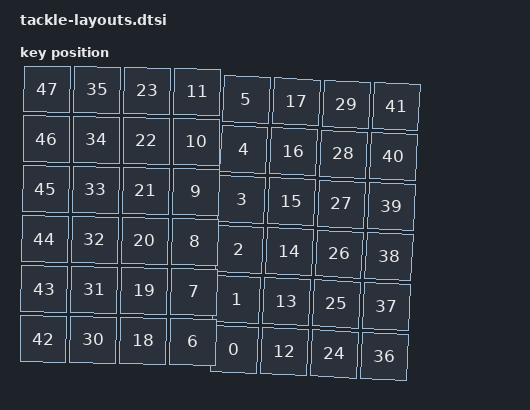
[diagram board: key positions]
#include <physical_layouts.dtsi>

/ {
    tackle_layout: tackle_layout {
        compatible = "zmk,physical-layout";
        display-name = "Tackle";
        transform = <&default_transform>;
        kscan = <&kscan0>;
        keys  //                     w   h    x    y     rot    rx    ry
            = <&key_physical_attrs 100 100  400  500     270     0     0>
            , <&key_physical_attrs 100 100  400  400     270     0     0>
            , <&key_physical_attrs 100 100  400  300     270     0     0>
            , <&key_physical_attrs 100 100  400  200     270     0     0>
            , <&key_physical_attrs 100 100  400  100     270     0     0>
            , <&key_physical_attrs 100 100  400    0     270     0     0>
            , <&key_physical_attrs 100 100  300  500      90     0     0>
            , <&key_physical_attrs 100 100  300  400      90     0     0>
            , <&key_physical_attrs 100 100  300  300      90     0     0>
            , <&key_physical_attrs 100 100  300  200      90     0     0>
            , <&key_physical_attrs 100 100  300  100      90     0     0>
            , <&key_physical_attrs 100 100  300    0      90     0     0>
            = <&key_physical_attrs 100 100  500  500     270     0     0>
            , <&key_physical_attrs 100 100  500  400     270     0     0>
            , <&key_physical_attrs 100 100  500  300     270     0     0>
            , <&key_physical_attrs 100 100  500  200     270     0     0>
            , <&key_physical_attrs 100 100  500  100     270     0     0>
            , <&key_physical_attrs 100 100  500    0     270     0     0>
            , <&key_physical_attrs 100 100  200  500      90     0     0>
            , <&key_physical_attrs 100 100  200  400      90     0     0>
            , <&key_physical_attrs 100 100  200  300      90     0     0>
            , <&key_physical_attrs 100 100  200  200      90     0     0>
            , <&key_physical_attrs 100 100  200  100      90     0     0>
            , <&key_physical_attrs 100 100  200    0      90     0     0>
            , <&key_physical_attrs 100 100  600  500     270     0     0>
            , <&key_physical_attrs 100 100  600  400     270     0     0>
            , <&key_physical_attrs 100 100  600  300     270     0     0>
            , <&key_physical_attrs 100 100  600  200     270     0     0>
            , <&key_physical_attrs 100 100  600  100     270     0     0>
            , <&key_physical_attrs 100 100  600    0     270     0     0>
            , <&key_physical_attrs 100 100  100  500      90     0     0>
            , <&key_physical_attrs 100 100  100  400      90     0     0>
            , <&key_physical_attrs 100 100  100  300      90     0     0>
            , <&key_physical_attrs 100 100  100  200      90     0     0>
            , <&key_physical_attrs 100 100  100  100      90     0     0>
            , <&key_physical_attrs 100 100  100    0      90     0     0>
            , <&key_physical_attrs 100 100  700  500     270     0     0>
            , <&key_physical_attrs 100 100  700  400     270     0     0>
            , <&key_physical_attrs 100 100  700  300     270     0     0>
            , <&key_physical_attrs 100 100  700  200     270     0     0>
            , <&key_physical_attrs 100 100  700  100     270     0     0>
            , <&key_physical_attrs 100 100  700    0     270     0     0>
            , <&key_physical_attrs 100 100    0  500      90     0     0>
            , <&key_physical_attrs 100 100    0  400      90     0     0>
            , <&key_physical_attrs 100 100    0  300      90     0     0>
            , <&key_physical_attrs 100 100    0  200      90     0     0>
            , <&key_physical_attrs 100 100    0  100      90     0     0>
            , <&key_physical_attrs 100 100    0    0      90     0     0>
            ;
    };
};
